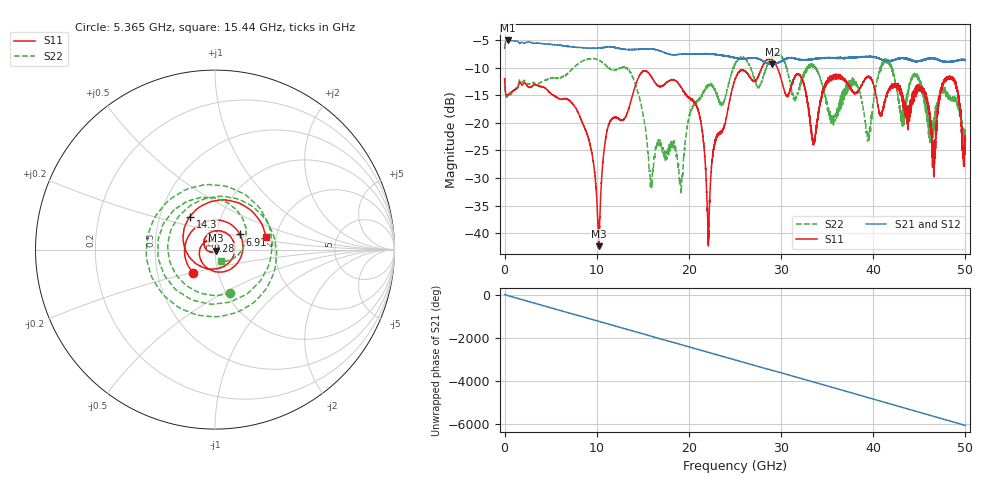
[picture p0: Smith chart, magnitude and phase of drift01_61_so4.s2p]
!Created with skrf (http://scikit-rf.org).
# Hz S RI R 50.0
!freq ReS11 ImS11 ReS21 ImS21 ReS12 ImS12 ReS22 ImS22
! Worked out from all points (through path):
!   10001 points, 300 kHz to 50 GHz, reference 50 ohm
!   highest |S21| = -5.06 dB at 335.3 MHz (marker M1); lowest = -9.4 dB at 29.06 GHz (marker M2)
!   group delay of S21, straight-line fit = 336 ps
!   lowest |S11| = -42.3 dB at 10.22 GHz (marker M3), VSWR 1.02, Z = 50.5 - j0.585 ohm
!   |S11| at or under -10 dB: start of sweep to 27.9 GHz; 29.59 GHz to end of sweep
!   |S22| runs from -32.9 to -7.5 dB; largest |S21 - S12| = 0.014
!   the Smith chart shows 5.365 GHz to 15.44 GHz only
!   S11 on the Smith chart (normalised r, x): 5.365 GHz: 0.76, -0.20; 6.91 GHz: 1.30, +0.23; 9.28 GHz: 0.92, +0.09; 14.3 GHz: 0.71, +0.28; 15.44 GHz: 1.77, +0.26
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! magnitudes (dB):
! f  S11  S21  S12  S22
! 300 kHz  -12.0  -6.5  -6.6  -11.8
! 335.3 MHz  -15.0  -5.1  -5.1  -15.3
! 5.365 GHz  -15.0  -5.8  -5.9  -11.8
! 6.91 GHz  -15.8  -6.1  -6.1  -11.0
! 8.335 GHz  -19.5  -6.4  -6.4  -8.9
! 9.28 GHz  -24.0  -6.4  -6.4  -8.3
! 10.22 GHz  -42.3  -6.4  -6.4  -8.6
! 11.23 GHz  -20.6  -6.3  -6.2  -9.9
! 14.3 GHz  -12.7  -6.7  -6.7  -13.5
! 15.44 GHz  -10.7  -6.6  -6.6  -22.9
! 16.67 GHz  -13.3  -6.9  -6.8  -23.2
! 19.15 GHz  -13.5  -7.5  -7.6  -32.7
! 20.85 GHz  -17.0  -7.6  -7.5  -16.0
! 22.11 GHz  -41.0  -7.5  -7.5  -13.3
! 25 GHz  -12.1  -8.2  -8.2  -9.4
! 29.06 GHz  -8.6  -9.4  -9.4  -8.1
! 33.34 GHz  -22.6  -8.5  -8.5  -9.6
! 39.46 GHz  -11.6  -8.0  -8.0  -21.9
! 41.67 GHz  -13.8  -8.8  -8.7  -9.1
! 46.56 GHz  -29.6  -8.3  -8.3  -20.5
! 48.56 GHz  -12.0  -8.8  -8.8  -15.8
! 50 GHz  -23.3  -8.6  -8.6  -22.9
